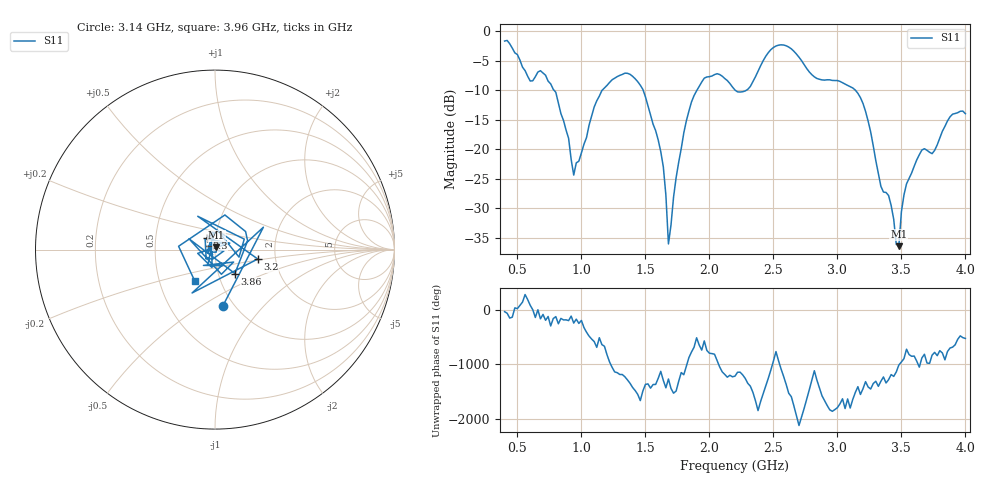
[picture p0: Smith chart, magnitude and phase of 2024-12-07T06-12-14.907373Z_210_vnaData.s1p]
!Created with skrf (http://scikit-rf.org).
# Hz S RI R 50.0
!freq ReS11 ImS11
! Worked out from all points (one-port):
!   181 points, 400 MHz to 4 GHz, reference 50 ohm
!   lowest |S11| = -36.4 dB at 3.48 GHz (marker M1), VSWR 1.03, Z = 50.7 + j1.37 ohm
!   |S11| at or under -10 dB: 785.5 MHz to 1.163 GHz (377.6 MHz wide, 38.8 % of centre); 1.482 GHz to 1.903 GHz (421.2 MHz wide, 24.9 % of centre); 3.14 GHz to end of sweep (the widest 3 of 4)
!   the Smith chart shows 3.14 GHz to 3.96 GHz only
!   S11 on the Smith chart (normalised r, x): 3.14 GHz: 0.89, -0.62; 3.2 GHz: 1.61, -0.18; 3.3 GHz: 0.91, +0.12; 3.86 GHz: 1.20, -0.33; 3.96 GHz: 0.75, -0.28
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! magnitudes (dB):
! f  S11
! 400 MHz  -1.7
! 600 MHz  -8.5
! 720 MHz  -7.5
! 860 MHz  -15.1
! 940 MHz  -24.4
! 1.12 GHz  -11.8
! 1.3 GHz  -7.5
! 1.46 GHz  -9.2
! 1.58 GHz  -16.8
! 1.64 GHz  -23.0
! 1.68 GHz  -36.0
! 1.76 GHz  -22.2
! 1.86 GHz  -12.0
! 1.96 GHz  -8.0
! 2.2 GHz  -10.0
! 2.3 GHz  -9.9
! 2.5 GHz  -2.8
! 2.66 GHz  -3.4
! 3.1 GHz  -9.4
! 3.14 GHz  -10.0
! 3.2 GHz  -12.3
! 3.3 GHz  -21.9
! 3.48 GHz  -36.4
! 3.5 GHz  -30.6
! 3.56 GHz  -24.9
! 3.86 GHz  -15.2
! 3.96 GHz  -13.6
! 4 GHz  -14.0
